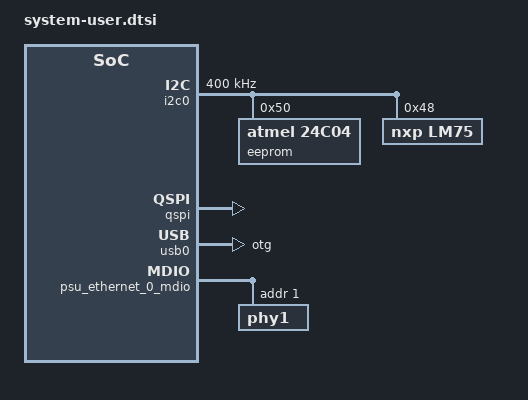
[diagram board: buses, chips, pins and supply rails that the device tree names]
/include/ "system-conf.dtsi"
/ {
	
};

&i2c0 {
        clock-frequency = <400000>;
        eeprom@50{
                compatible = "atmel,24c04";
                reg = <0x50>;
                pagesize = <16>;
        };
};

&i2c0 {
        clock-frequency = <400000>;
        lm75@48 {
                compatible = "nxp,lm75";
                reg = <0x48>;
        };
};

&qspi {
        status = "okay";
};

&flash0 {
	is-dual = <0>;
	num-cs = <1>;
	spi-rx-bus-width = <4>;
        spi-tx-bus-width = <4>;
        compatible ="jedec,spi-nor";
        reg= <0x0>;
};

/* SD */
&sdhci1 {
	disable-wp;
	no-1-8-v;
};

&usb0 {
        dr_mode = "otg";
};

&psu_ethernet_0_mdio {
        phy1: phy1@1 {
		device_type = "ethernet-phy";
                reg = <1>;
        };
};


